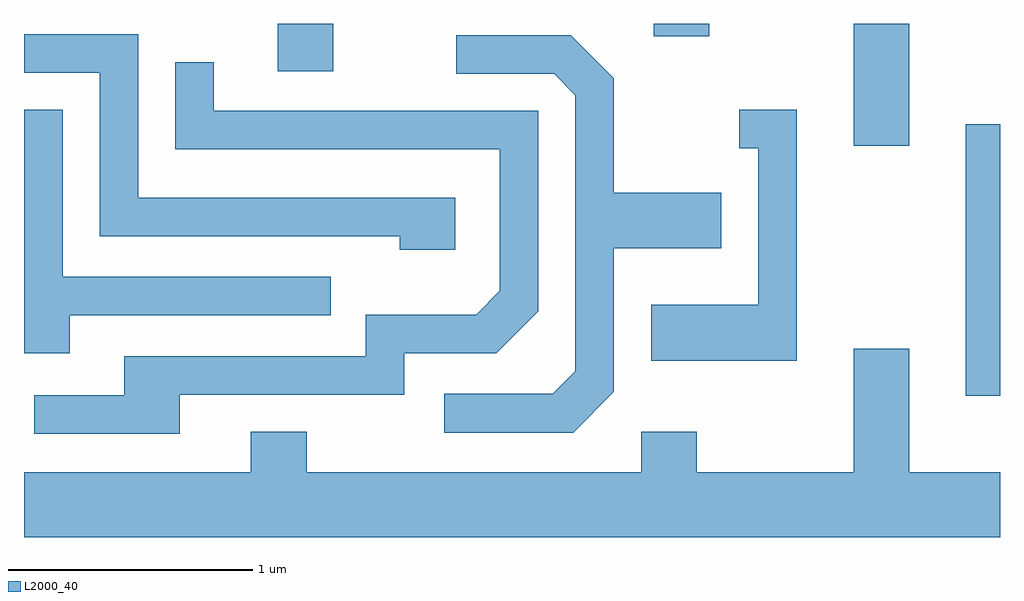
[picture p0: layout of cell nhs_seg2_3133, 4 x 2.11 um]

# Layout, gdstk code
import gdstk
lib = gdstk.Library(unit=1e-6, precision=1e-09)
def R(c, l, rs):  # rectangles x0, y0, x1, y1
    for r in rs: c.add(gdstk.rectangle(r[:2], r[2:], *l))
def P(c, l, *ps):  # polygons
    for p in ps: c.add(gdstk.Polygon(p, *l))
L2000_40 = (2000, 40)

nhs_seg2_3133 = lib.new_cell('nhs_seg2_3133')
R(nhs_seg2_3133, L2000_40, [(281.471,1002.276,281.611,1003.389), (281.011,1003.301,281.239,1003.802), (278.651,1003.606,278.879,1003.802), (280.191,1003.751,280.419,1003.802)])
P(nhs_seg2_3133, L2000_40, [(279.379,1003.089),(278.079,1003.089),(278.079,1003.759),(277.611,1003.759),(277.611,1003.601),(277.921,1003.601),(277.921,1002.931),(279.151,1002.931),(279.151,1002.876),(279.379,1002.876)],
  [(280.029,1002.294),(280.029,1002.881),(280.469,1002.881),(280.469,1003.109),(280.029,1003.109),(280.029,1003.577),(279.852,1003.754),(279.383,1003.754),(279.383,1003.596),(279.784,1003.596),(279.871,1003.509),(279.871,1002.377),(279.779,1002.284),(279.333,1002.284),(279.333,1002.126),(279.862,1002.126)],
  [(278.249,1002.281),(279.169,1002.281),(279.169,1002.451),(279.547,1002.451),(279.719,1002.624),(279.719,1003.444),(278.389,1003.444),(278.389,1003.643),(278.231,1003.643),(278.231,1003.286),(279.561,1003.286),(279.561,1002.707),(279.464,1002.609),(279.011,1002.609),(279.011,1002.439),(278.021,1002.439),(278.021,1002.279),(277.653,1002.279),(277.653,1002.121),(278.249,1002.121)],
  [(277.799,1002.606),(278.868,1002.606),(278.868,1002.764),(277.769,1002.764),(277.769,1003.449),(277.611,1003.449),(277.611,1002.451),(277.799,1002.451)],
  [(280.779,1003.449),(280.543,1003.449),(280.543,1003.291),(280.621,1003.291),(280.621,1002.649),(280.181,1002.649),(280.181,1002.421),(280.779,1002.421)],
  [(281.611,1001.964),(281.239,1001.964),(281.239,1002.469),(281.011,1002.469),(281.011,1001.964),(280.369,1001.964),(280.369,1002.129),(280.141,1002.129),(280.141,1001.964),(278.769,1001.964),(278.769,1002.129),(278.541,1002.129),(278.541,1001.964),(277.611,1001.964),(277.611,1001.696),(281.611,1001.696)])

lib.write_gds('nhs_seg2_3133.gds')
